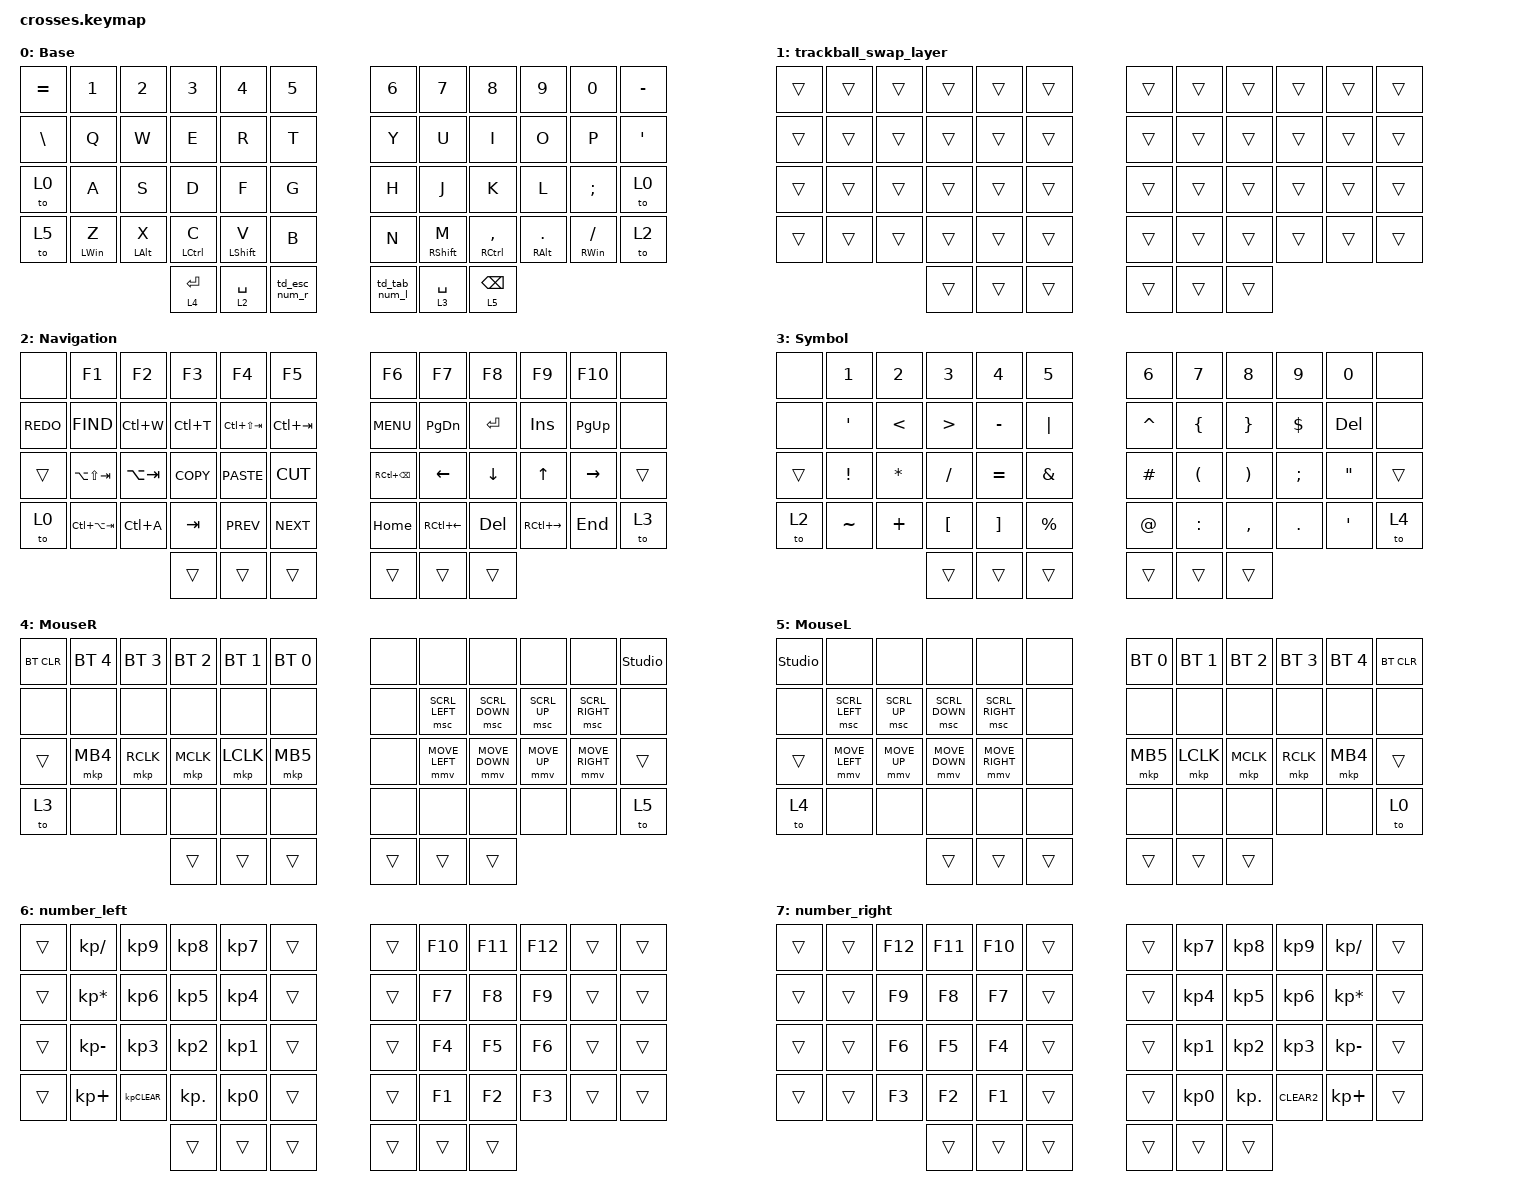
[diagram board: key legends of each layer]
#include <scroll-snap.dtsi>
#include <behaviors/num_word.dtsi>
#include <dt-bindings/zmk/input_transform.h>
#include <behaviors.dtsi>
#include <dt-bindings/zmk/bt.h>
#include <dt-bindings/zmk/keys.h>
#include <dt-bindings/zmk/pointing.h>
/* The new dictionaries required for acceleration */
#include <input/processors.dtsi>
#include <behaviors/input_gestures_accel.dtsi>

/* Global Acceleration Configuration */
&pointer_accel {
    input-type = <INPUT_EV_REL>; // Tells it to look for mouse movement
    track-remainders;            // Saves tiny fractional movements for high precision
    min-factor = <600>;          // 0.6x at very slow speeds
    max-factor = <3500>;         // 3.5x at fast speeds
    speed-threshold = <1000>;    // Starts accelerating at 1000 counts/sec
    speed-max = <6000>;          // Reaches max speed at 6000 counts/sec
    acceleration-exponent = <3>; // Uses a smooth quadratic curve
};

/* Global Scroll Snap Configuration */

&zip_scroll_snap {
    require-n-samples = <3>;
    immediate-snap-threshold = <500>;
};

&caps_word {
    // Tells Caps Word to stay alive if you type an underscore, minus, or backspace

    continue-list = <MINUS LSHIFT BACKSPACE DELETE>;
};

/ {
    combos {
        compatible = "zmk,combos";

        /* * COMBO: TRACKBALL SWAP
         * Requires pressing the Left Inner Thumb (50) and Right Inner Thumb (51)
         * within 50ms to toggle the isolated Layer 4.
         */

        combo_swap_trackballs {
            timeout-ms = <50>;
            key-positions = <48 53>;
            bindings = <&tog 1>;
        };

        // NEW: Double Spacebar for Capslock
        combo_capslock {
            timeout-ms = <50>;
            key-positions = <49 52>;
            bindings = <&kp CAPS>;
        };

    };

    macros {
        lang_en: lang_en {
            compatible = "zmk,behavior-macro";
            #binding-cells = <0>;
            bindings = <&kp LC(LS(N1))>, <&macro_pause_for_release>, <&to 0>;
        };

        lang_ua: lang_ua {
            compatible = "zmk,behavior-macro";
            #binding-cells = <0>;
            bindings = <&kp LC(LS(N2))>, <&macro_pause_for_release>, <&to 3>;
        };

        lang_jp: lang_jp {
            compatible = "zmk,behavior-macro";
            #binding-cells = <0>;
            bindings = <&kp LC(LS(N3))>, <&macro_pause_for_release>, <&to 0>;
        };

        snap_left: snap_left {
            compatible = "zmk,behavior-macro";
            #binding-cells = <0>;
            bindings =
                <&macro_press>,
                <&kp LGUI>,
                <&macro_tap>,
                <&kp LEFT>,
                <&macro_release>,
                <&kp LGUI>;
        };

        snap_right: snap_right {
            compatible = "zmk,behavior-macro";
            #binding-cells = <0>;
            bindings =
                <&macro_press>,
                <&kp LGUI>,
                <&macro_tap>,
                <&kp RIGHT>,
                <&macro_release>,
                <&kp LGUI>;
        };

        mo_cw_break: mo_caps_word_break {
            compatible = "zmk,behavior-macro-one-param";
            #binding-cells = <1>;
            bindings =
                <&macro_tap>,
                <&kp F24 &macro_param_1to1>,
                <&macro_press>,
                <&mo MACRO_PLACEHOLDER>,
                <&macro_pause_for_release>,
                <&macro_param_1to1>,
                <&macro_release>,
                <&mo MACRO_PLACEHOLDER>;
        };
    };

    behaviors {
        // NEW: Left Inner Thumb -> Tap: ESC / Hold: Layer 7 / Double-Tap: Toggle Layer 7
        td_esc_num_r: tap_dance_esc_num_r {
            compatible = "zmk,behavior-tap-dance";
            #binding-cells = <0>;
            tapping-term-ms = <200>;
            bindings = <&lt 7 ESC>, <&tog 7>;
        };

        // NEW: Right Inner Thumb -> Tap: TAB / Hold: Layer 6 / Double-Tap: Toggle Layer 6
        td_tab_num_l: tap_dance_tab_num_l {
            compatible = "zmk,behavior-tap-dance";
            #binding-cells = <0>;
            tapping-term-ms = <200>;
            bindings = <&lt 6 TAB>, <&tog 6>;
        };

        mo_mkp: layer_tap_mouse_click {
            // Custom Hold-Tap for Mouse Clicks

            compatible = "zmk,behavior-hold-tap";
            #binding-cells = <2>;
            flavor = "tap-preferred"; // Better for rapid clicking
            tapping-term-ms = <200>;  // How long to hold to trigger the layer
            quick-tap-ms = <125>;     // Allows rapid double-clicking without triggering the layer
            bindings = <&mo>, <&mkp>;
        };

        alt_tab: alt_tab {
            compatible = "zmk,behavior-tri-state";
            #binding-cells = <0>;

            // 1st: Toggle Alt ON. 2nd: Tap Tab. 3rd: Toggle Alt OFF on interrupt.

            bindings = <&kt LALT>, <&kp TAB>, <&kt LALT>;

            // Optional: If you want to use Shift+Tab to cycle backwards without 
            // closing the menu, you can add the physical key-position of your 
            // Shift key to this array.
            // ignored-key-positions = < >; 
        };

        tap_hold: tap_hold {
            compatible = "zmk,behavior-hold-tap";
            #binding-cells = <2>;
            flavor = "balanced";
            tapping-term-ms = <170>;
            quick-tap-ms = <75>;
            bindings = <&kp>, <&kp>;

            // Uses standard keypresses for zero lag
        };

        mo_tap: mo_tap {
            compatible = "zmk,behavior-hold-tap";
            #binding-cells = <2>;
            flavor = "balanced";
            tapping-term-ms = <170>;
            quick-tap-ms = <75>;
            bindings = <&mo>, <&kp>;

            // Uses standard keypresses for zero lag
        };

        mo_sk: layer_hold_sticky_tap {
            compatible = "zmk,behavior-hold-tap";
            #binding-cells = <2>;
            flavor = "balanced";
            tapping-term-ms = <170>;
            bindings = <&mo>, <&sk>;
        };

        mo_num: layer_numword {
            compatible = "zmk,behavior-hold-tap";
            #binding-cells = <2>;
            flavor = "balanced";
            tapping-term-ms = <170>;
            bindings = <&mo>, <&num_word>;
        };

        // Home Row Mod for the LEFT hand (Triggers only if a RIGHT hand key is pressed)

        hrm_left: hrm_left {
            compatible = "zmk,behavior-hold-tap";
            #binding-cells = <2>;
            flavor = "balanced";
            tapping-term-ms = <170>;
            quick-tap-ms = <75>;
            require-prior-idle-ms = <100>; // Highly recommended for HRM to prevent mid-word misfires
            bindings = <&kp>, <&kp>;

            // The array of all RIGHT-hand keys

            hold-trigger-key-positions = <6 7 8 9 10 11 18 19 20 21 22 23 30 31 32 33 34 35 42 43 44 45 46 47 51 52 53>;
        };

        // Home Row Mod for the RIGHT hand (Triggers only if a LEFT hand key is pressed)

        hrm_right: hrm_right {
            compatible = "zmk,behavior-hold-tap";
            #binding-cells = <2>;
            flavor = "balanced";
            tapping-term-ms = <170>;
            quick-tap-ms = <75>;
            require-prior-idle-ms = <100>;
            bindings = <&kp>, <&kp>;

            // The array of all LEFT-hand keys

            hold-trigger-key-positions = <0 1 2 3 4 5 12 13 14 15 16 17 24 25 26 27 28 29 36 37 38 39 40 41 48 49 50>;
        };

        // Home Row Mod for the LEFT hand (Triggers only if a RIGHT hand key is pressed)

        mo_left: mo_left {
            compatible = "zmk,behavior-hold-tap";
            #binding-cells = <2>;
            flavor = "balanced";
            tapping-term-ms = <170>;
            quick-tap-ms = <75>;
            require-prior-idle-ms = <100>; // Highly recommended for HRM to prevent mid-word misfires
            bindings = <&mo>, <&kp>;

            // The array of all RIGHT-hand keys

            hold-trigger-key-positions = <6 7 8 9 10 11 18 19 20 21 22 23 30 31 32 33 34 35 42 43 44 45 46 47 51 52 53>;
        };

        // Home Row Mod for the RIGHT hand (Triggers only if a LEFT hand key is pressed)

        mo_right: mo_right {
            compatible = "zmk,behavior-hold-tap";
            #binding-cells = <2>;
            flavor = "balanced";
            tapping-term-ms = <170>;
            quick-tap-ms = <75>;
            require-prior-idle-ms = <100>;
            bindings = <&mo>, <&kp>;

            // The array of all LEFT-hand keys

            hold-trigger-key-positions = <0 1 2 3 4 5 12 13 14 15 16 17 24 25 26 27 28 29 36 37 38 39 40 41 48 49 50>;
        };

    };

    chosen { zmk,physical-layout = &gggw_crosses_54_layout; };

    keymap {
        compatible = "zmk,keymap";

        base_layer {
            display-name = "Base";
            bindings = <
&kp EQUAL      &kp N1          &kp N2          &kp N3              &kp N4            &kp N5         &kp N6          &kp N7             &kp N8                   &kp N9                &kp N0               &kp MINUS
&kp BSLH       &kp Q           &kp W           &kp E               &kp R             &kp T          &kp Y           &kp U              &kp I                    &kp O                 &kp P                &kp SINGLE_QUOTE
&to 0          &kp A           &kp S           &kp D               &kp F             &kp G          &kp H           &kp J              &kp K                    &kp L                 &kp SEMICOLON        &to 0
&to 5          &mt LEFT_WIN Z  &mt LEFT_ALT X  &mt LEFT_CONTROL C  &mt LEFT_SHIFT V  &kp B          &kp N           &mt RIGHT_SHIFT M  &mt RIGHT_CONTROL COMMA  &mt RIGHT_ALT PERIOD  &mt RIGHT_WIN SLASH  &to 2
                                               &lt 4 RET           &lt 2 SPACE       &td_esc_num_r  &td_tab_num_l  &lt 3 SPACE        &lt 5 BSPC
            >;
        };

        trackball_swap_layer {
            bindings = <
&trans  &trans  &trans  &trans  &trans  &trans  &trans  &trans  &trans  &trans  &trans  &trans
&trans  &trans  &trans  &trans  &trans  &trans  &trans  &trans  &trans  &trans  &trans  &trans
&trans  &trans  &trans  &trans  &trans  &trans  &trans  &trans  &trans  &trans  &trans  &trans
&trans  &trans  &trans  &trans  &trans  &trans  &trans  &trans  &trans  &trans  &trans  &trans
                        &trans  &trans  &trans  &trans  &trans  &trans
            >;
        };

        navigation_layer {
            display-name = "Navigation";
            bindings = <
&none       &kp F1           &kp F2       &kp F3      &kp F4           &kp F5       &kp F6          &kp F7              &kp F8        &kp F9         &kp F10        &none
&kp K_REDO  &kp K_FIND       &kp LC(W)    &kp LC(T)   &kp LC(LS(TAB))  &kp LC(TAB)  &kp K_MENU      &kp PG_DN           &kp ENTER     &kp INS        &kp PG_UP      &none
&trans      &kp LA(LS(TAB))  &kp LA(TAB)  &kp K_COPY  &kp K_PASTE      &kp K_CUT    &kp RC(BACKSPACE) &kp LEFT_ARROW    &kp DOWN_ARROW &kp UP_ARROW  &kp RIGHT      &trans
&to 0       &kp LC(LA(TAB))  &kp LC(A)    &kp TAB     &kp K_PREV       &kp K_NEXT   &kp HOME        &kp RC(LEFT_ARROW)  &kp DEL       &kp RC(RIGHT)  &kp END        &to 3
                                          &trans      &trans           &trans       &trans          &trans              &trans
            >;
        };

        symbolnum_layer {
            display-name = "Symbol";
            bindings = <
&none  &kp N1           &kp N2         &kp N3            &kp N4             &kp N5         &kp N6       &kp N7                &kp N8                 &kp N9         &kp N0             &none
&none  &kp APOSTROPHE   &kp LESS_THAN  &kp GREATER_THAN  &kp MINUS          &kp PIPE       &kp CARET    &kp LEFT_BRACE        &kp RIGHT_BRACE        &kp DOLLAR     &kp DEL            &none
&trans &kp EXCLAMATION  &kp ASTERISK   &kp SLASH         &kp EQUAL          &kp AMPERSAND  &kp HASH     &kp LEFT_PARENTHESIS  &kp RIGHT_PARENTHESIS  &kp SEMICOLON  &kp DOUBLE_QUOTES  &trans
&to 2  &kp TILDE        &kp PLUS       &kp LEFT_BRACKET  &kp RIGHT_BRACKET  &kp PERCENT    &kp AT_SIGN  &kp COLON             &kp COMMA              &kp PERIOD     &kp SINGLE_QUOTE   &to 4
                                       &trans            &trans             &trans         &trans       &trans                &trans
            >;
        };

        mouse_right_layer {
            display-name = "MouseR";
            bindings = <
&bt BT_CLR  &bt BT_SEL 4  &bt BT_SEL 3  &bt BT_SEL 2  &bt BT_SEL 1  &bt BT_SEL 0  &none   &none           &none           &none         &none            &studio_unlock
&none       &none         &none         &none         &none         &none         &none   &msc SCRL_LEFT  &msc SCRL_DOWN  &msc SCRL_UP  &msc SCRL_RIGHT  &none
&trans      &mkp MB4      &mkp RCLK     &mkp MCLK     &mkp LCLK     &mkp MB5      &none   &mmv MOVE_LEFT  &mmv MOVE_DOWN  &mmv MOVE_UP  &mmv MOVE_RIGHT  &trans
&to 3       &none         &none         &none         &none         &none         &none   &none           &none           &none         &none            &to 5
                                        &trans        &trans        &trans        &trans  &trans          &trans
            >;
        };

        mouse_left_layer {
            display-name = "MouseL";
            bindings = <
&studio_unlock  &none           &none         &none           &none            &none   &bt BT_SEL 0  &bt BT_SEL 1  &bt BT_SEL 2  &bt BT_SEL 3  &bt BT_SEL 4  &bt BT_CLR
&none           &msc SCRL_LEFT  &msc SCRL_UP  &msc SCRL_DOWN  &msc SCRL_RIGHT  &none   &none         &none         &none         &none         &none         &none
&trans          &mmv MOVE_LEFT  &mmv MOVE_UP  &mmv MOVE_DOWN  &mmv MOVE_RIGHT  &none   &mkp MB5      &mkp LCLK     &mkp MCLK     &mkp RCLK     &mkp MB4      &trans
&to 4           &none           &none         &none           &none            &none   &none         &none         &none         &none         &none         &to 0
                                              &trans          &trans           &trans  &trans        &trans        &trans
            >;
        };

        number_left {
            bindings = <
&trans  &kp KP_DIVIDE    &kp KP_N9     &kp KP_N8   &kp KP_N7  &trans  &trans  &kp F10  &kp F11  &kp F12  &trans  &trans
&trans  &kp KP_MULTIPLY  &kp KP_N6     &kp KP_N5   &kp KP_N4  &trans  &trans  &kp F7   &kp F8   &kp F9   &trans  &trans
&trans  &kp KP_MINUS     &kp KP_N3     &kp KP_N2   &kp KP_N1  &trans  &trans  &kp F4   &kp F5   &kp F6   &trans  &trans
&trans  &kp KP_PLUS      &kp KP_CLEAR  &kp KP_DOT  &kp KP_N0  &trans  &trans  &kp F1   &kp F2   &kp F3   &trans  &trans
                                       &trans      &trans     &trans  &trans  &trans   &trans
            >;
        };

        number_right {
            bindings = <
&trans  &trans  &kp F12  &kp F11  &kp F10  &trans  &trans  &kp KP_N7  &kp KP_N8   &kp KP_N9   &kp KP_DIVIDE    &trans
&trans  &trans  &kp F9   &kp F8   &kp F7   &trans  &trans  &kp KP_N4  &kp KP_N5   &kp KP_N6   &kp KP_MULTIPLY  &trans
&trans  &trans  &kp F6   &kp F5   &kp F4   &trans  &trans  &kp KP_N1  &kp KP_N2   &kp KP_N3   &kp KP_MINUS     &trans
&trans  &trans  &kp F3   &kp F2   &kp F1   &trans  &trans  &kp KP_N0  &kp KP_DOT  &kp CLEAR2  &kp KP_PLUS      &trans
                         &trans   &trans   &trans  &trans  &trans     &trans
            >;
        };
    };
};

/* * TRACKBALL LISTENER OVERRIDES
 * ZMK Documentation: Layer Specific Overrides
 * (https://zmk.dev/docs/keymaps/input-processors/usage#layer-specific-overrides)
 * * SOFTWARE-DEFINED TRACKBALL LOGIC
 * Base Hardware: Both trackballs are Mice at 600 CPI.
 * Layer 0: Left = Scroll, Right = Mouse.
 * Layer 1: Left = Mouse, Right = Scroll.
 */

&trackball_peripheral_listener {
    /* --- LEFT TRACKBALL --- */

    layer_1_mouse {
        /* The engine checks this FIRST. If Layer 1 is active, it strips the  
         * scroll mapper and makes it a mouse.
         */

        layers = <1>;
        input-processors =
            <&zip_xy_transform (INPUT_TRANSFORM_X_INVERT)>,
            <&pointer_accel>,
            <&zip_ble_report_rate_limit>;
    };

    layer_0_scroll {
        /* The engine checks this LAST. If Layer 1 is NOT active, it falls back 
         * to Layer 0 and makes it a Scroll Wheel.
         */

        layers = <0>;
        input-processors =
            <&zip_xy_transform (INPUT_TRANSFORM_Y_INVERT)>,
            <&zip_xy_scaler 1 3>,
            <&zip_xy_to_scroll_mapper>,
            <&zip_scroll_snap>;
    };
};

&trackball_central_listener {
    /* --- RIGHT TRACKBALL --- */

    layer_1_scroll {
        /* The right side only has one override, so order doesn't matter here. 
         * Layer 0 does nothing (remains a Mouse based on the .overlay).
         * Layer 1 overrides the hardware to become a Scroll Wheel.
         */

        layers = <1>;
        input-processors =
            <&zip_xy_transform (INPUT_TRANSFORM_X_INVERT | INPUT_TRANSFORM_Y_INVERT)>,
            <&zip_xy_scaler 1 3>,
            <&zip_xy_to_scroll_mapper>,
            <&zip_scroll_snap>;
    }; /* <--- ADDED CLOSING BRACE */

     /* Since your Right trackball defaults to a mouse on Layer 0 based on the overlay,
     * we must create a quick override here to catch Layer 0 and apply the acceleration.
     */
    layer_0_mouse {
        layers = <0>;
        input-processors = 
            <&pointer_accel>,
            <&zip_ble_report_rate_limit>;
    };
};

